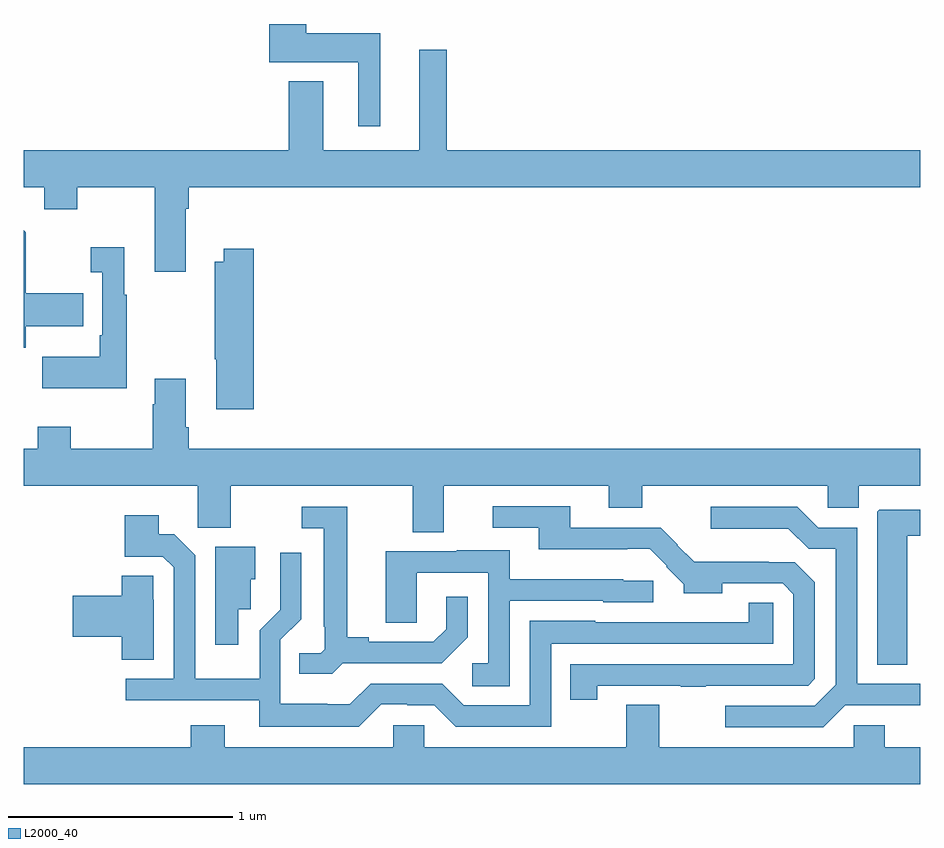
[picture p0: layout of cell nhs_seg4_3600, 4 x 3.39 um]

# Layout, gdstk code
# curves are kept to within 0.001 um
import gdstk
lib = gdstk.Library(unit=1e-6, precision=1e-09)
def P(c, l, *ps):  # polygons
    for p in ps: c.add(gdstk.Polygon(p, *l))
L2000_40 = (2000, 40)

nhs_seg4_3600 = lib.new_cell('nhs_seg4_3600')
P(nhs_seg4_3600, L2000_40, [(302.59,778.858),(302.26,778.858),(302.26,778.9),(302.096,778.9),(302.096,778.73),(302.492,778.73),(302.492,778.443),(302.59,778.443)],
  [(301,778.172),(301.091,778.172),(301.091,778.073),(301.239,778.073),(301.239,778.172),(301.583,778.172),(301.583,777.795),(301.723,777.795),(301.723,778.076),(301.736,778.076),(301.736,778.172),(305,778.172),(305,778.336),(302.887,778.336),(302.887,778.786),(302.765,778.786),(302.765,778.336),(302.335,778.336),(302.335,778.645),(302.183,778.645),(302.183,778.336),(301,778.336)],
  [(301.009,777.551),(301.265,777.551),(301.265,777.699),(301.009,777.699),(301.009,777.971),(301,777.98),(301,777.455),(301.009,777.455)],
  [(301.459,777.691),(301.447,777.691),(301.447,777.904),(301.299,777.904),(301.299,777.791),(301.35,777.791),(301.35,777.511),(301.338,777.511),(301.338,777.415),(301.081,777.415),(301.081,777.275),(301.459,777.275)],
  [(302.027,777.898),(301.892,777.898),(301.892,777.838),(301.852,777.838),(301.852,777.403),(301.859,777.403),(301.859,777.18),(302.027,777.18)],
  [(302.875,776.84),(303.611,776.84),(303.611,776.741),(303.759,776.741),(303.759,776.84),(304.587,776.84),(304.587,776.742),(304.726,776.742),(304.726,776.84),(305,776.84),(305,777.004),(301.736,777.004),(301.736,777.1),(301.723,777.1),(301.723,777.316),(301.583,777.316),(301.583,777.203),(301.576,777.203),(301.576,777.004),(301.209,777.004),(301.209,777.103),(301.062,777.103),(301.062,777.004),(301,777.004),(301,776.84),(301.776,776.84),(301.776,776.651),(301.923,776.651),(301.923,776.84),(302.735,776.84),(302.735,776.632),(302.875,776.632)],
  [(303.558,775.947),(303.931,775.947),(303.931,775.942),(304.043,775.942),(304.043,775.947),(304.5,775.947),(304.53,775.977),(304.53,776.409),(304.441,776.498),(304.325,776.498),(304.325,776.5),(303.991,776.5),(303.917,776.573),(303.919,776.575),(303.843,776.652),(303.439,776.652),(303.439,776.748),(303.093,776.748),(303.093,776.652),(303.299,776.652),(303.299,776.555),(303.692,776.555),(303.692,776.558),(303.794,776.558),(303.87,776.481),(303.867,776.478),(303.946,776.4),(303.946,776.36),(304.117,776.36),(304.117,776.403),(304.386,776.403),(304.434,776.355),(304.434,776.043),(303.439,776.043),(303.439,775.884),(303.558,775.884)],
  [(302.424,776.046),(302.866,776.046),(302.982,776.162),(302.982,776.344),(302.885,776.344),(302.885,776.199),(302.828,776.142),(302.539,776.142),(302.539,776.162),(302.443,776.162),(302.443,776.745),(302.241,776.745),(302.241,776.649),(302.339,776.649),(302.339,776.209),(302.343,776.209),(302.343,776.109),(302.325,776.091),(302.23,776.091),(302.23,775.999),(302.376,775.999)],
  [(304.666,775.86),(305,775.86),(305,775.956),(304.719,775.956),(304.719,776.652),(304.545,776.652),(304.452,776.745),(304.065,776.745),(304.065,776.648),(304.411,776.648),(304.502,776.557),(304.623,776.557),(304.623,775.95),(304.53,775.857),(304.131,775.857),(304.131,775.761),(304.567,775.761)],
  [(304.942,776.617),(305,776.617),(305,776.733),(304.818,776.733),(304.808,776.723),(304.808,776.041),(304.942,776.041)],
  [(302.595,775.863),(302.712,775.863),(302.712,775.86),(302.832,775.86),(302.928,775.764),(303.354,775.764),(303.354,776.133),(304.344,776.133),(304.344,776.318),(304.236,776.318),(304.236,776.23),(303.549,776.229),(303.549,776.236),(303.258,776.236),(303.258,775.86),(302.964,775.86),(302.868,775.956),(302.547,775.956),(302.454,775.863),(302.354,775.863),(302.354,775.867),(302.145,775.867),(302.145,776.151),(302.238,776.244),(302.238,776.539),(302.144,776.539),(302.144,776.286),(302.052,776.194),(302.052,775.978),(301.764,775.978),(301.764,776.529),(301.671,776.622),(301.603,776.622),(301.603,776.707),(301.451,776.707),(301.451,776.523),(301.62,776.523),(301.668,776.475),(301.668,775.977),(301.455,775.977),(301.455,775.881),(302.051,775.881),(302.051,775.763),(302.495,775.763)],
  [(301.957,776.289),(302.013,776.289),(302.013,776.421),(302.032,776.421),(302.032,776.566),(301.853,776.566),(301.853,776.13),(301.957,776.13)],
  [(303.168,776.325),(303.585,776.325),(303.585,776.319),(303.81,776.319),(303.81,776.415),(303.675,776.415),(303.675,776.422),(303.169,776.422),(303.169,776.551),(302.933,776.551),(302.933,776.547),(302.615,776.547),(302.615,776.227),(302.754,776.227),(302.754,776.451),(303.072,776.451),(303.072,776.046),(303,776.046),(303,775.945),(303.168,775.945)],
  [(301.579,776.33),(301.578,776.33),(301.578,776.438),(301.436,776.438),(301.436,776.348),(301.218,776.348),(301.218,776.165),(301.436,776.165),(301.436,776.062),(301.579,776.062)],
  [(305,775.672),(304.843,775.672),(304.843,775.77),(304.704,775.77),(304.704,775.672),(303.835,775.672),(303.835,775.862),(303.688,775.862),(303.688,775.672),(302.787,775.672),(302.787,775.77),(302.649,775.77),(302.649,775.672),(301.897,775.672),(301.897,775.771),(301.745,775.771),(301.745,775.672),(301,775.672),(301,775.508),(305,775.508)])

lib.write_gds('nhs_seg4_3600.gds')
